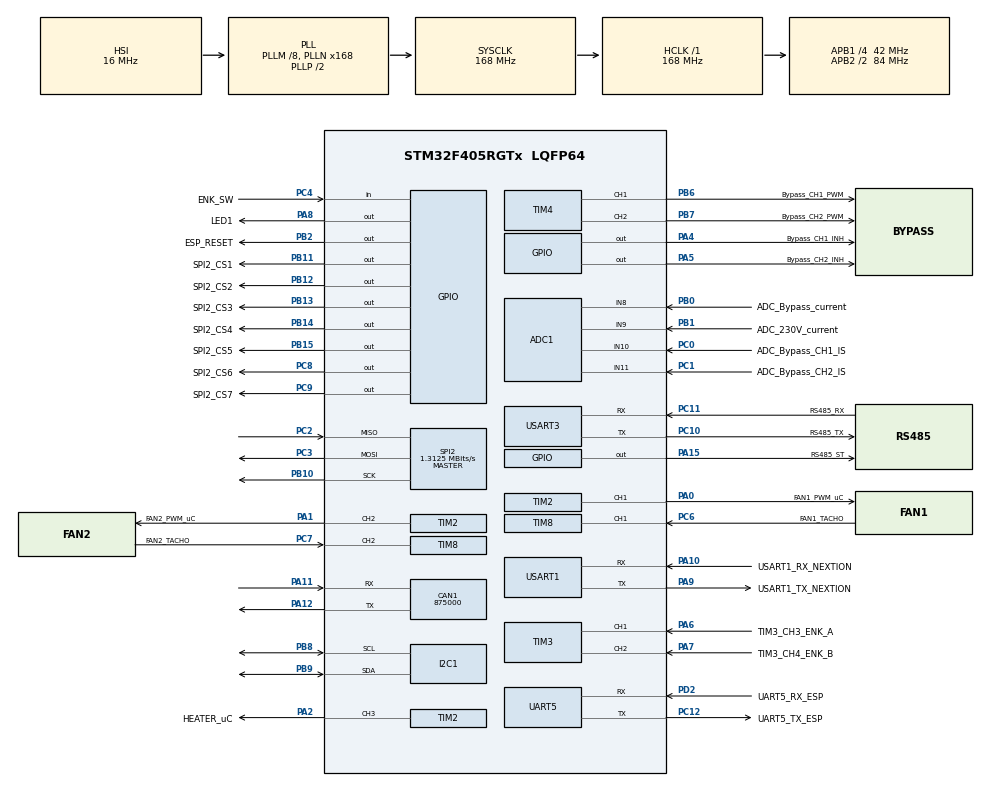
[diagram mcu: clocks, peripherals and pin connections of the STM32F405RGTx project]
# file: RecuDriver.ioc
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ADC1.Channel-0\#ChannelRegularConversion=ADC_CHANNEL_8
ADC1.NbrOfConversionFlag=1
ADC1.Rank-0\#ChannelRegularConversion=1
ADC1.SamplingTime-0\#ChannelRegularConversion=ADC_SAMPLETIME_3CYCLES
ADC1.master=1
CAN1.CalculateBaudRate=875000
CAN1.CalculateTimeBit=1142.85
CAN1.CalculateTimeQuantum=380.95238095238096
FREERTOS.Tasks01=defaultTask,0,128,StartDefaultTask,Default,NULL,Dynamic,NULL,NULL
FREERTOS.configENABLE_FPU=1
Mcu.Family=STM32F4
Mcu.Name=STM32F405RGTx
Mcu.Package=LQFP64
NVIC.PriorityGroup=NVIC_PRIORITYGROUP_4
NVIC.USART1_IRQn=true\:5\:0\:false\:false\:true\:true\:true\:true
PA0-WKUP.GPIO_Label=FAN1_PWM_uC
PA0-WKUP.Signal=S_TIM2_CH1_ETR
PA1.GPIO_Label=FAN2_PWM_uC
PA1.Signal=S_TIM2_CH2
PA10.GPIO_Label=USART1_RX_NEXTION
PA10.Mode=Asynchronous
PA10.Signal=USART1_RX
PA11.Mode=CAN_Activate
PA11.Signal=CAN1_RX
PA12.Mode=CAN_Activate
PA12.Signal=CAN1_TX
PA13.Mode=Serial_Wire
PA13.Signal=SYS_JTMS-SWDIO
PA14.Mode=Serial_Wire
PA14.Signal=SYS_JTCK-SWCLK
PA15.GPIO_Label=RS485_ST
PA15.Signal=GPIO_Output
PA2.GPIO_Label=HEATER_uC
PA2.Signal=S_TIM2_CH3
PA4.GPIO_Label=Bypass_CH1_INH
PA4.Signal=GPIO_Output
PA5.GPIO_Label=Bypass_CH2_INH
PA5.Signal=GPIO_Output
PA6.GPIO_Label=TIM3_CH3_ENK_A
PA6.Signal=S_TIM3_CH1
PA7.GPIO_Label=TIM3_CH4_ENK_B
PA7.Signal=S_TIM3_CH2
PA8.GPIO_Label=LED1
PA8.Signal=GPIO_Output
PA9.GPIO_Label=USART1_TX_NEXTION
PA9.Mode=Asynchronous
PA9.Signal=USART1_TX
PB0.GPIO_Label=ADC_Bypass_current
PB0.Signal=ADCx_IN8
PB1.GPIO_Label=ADC_230V_current
PB1.Signal=ADCx_IN9
PB10.Mode=Full_Duplex_Master
PB10.Signal=SPI2_SCK
PB11.GPIO_Label=SPI2_CS1
PB11.Signal=GPIO_Output
PB12.GPIO_Label=SPI2_CS2
PB12.Signal=GPIO_Output
PB13.GPIO_Label=SPI2_CS3
PB13.Signal=GPIO_Output
PB14.GPIO_Label=SPI2_CS4
PB14.Signal=GPIO_Output
PB15.GPIO_Label=SPI2_CS5
PB15.Signal=GPIO_Output
PB2.GPIO_Label=ESP_RESET
PB2.Signal=GPIO_Output
PB6.GPIO_Label=Bypass_CH1_PWM
PB6.Signal=S_TIM4_CH1
PB7.GPIO_Label=Bypass_CH2_PWM
PB7.Signal=S_TIM4_CH2
PB8.Mode=I2C
PB8.Signal=I2C1_SCL
PB9.Mode=I2C
PB9.Signal=I2C1_SDA
PC0.GPIO_Label=ADC_Bypass_CH1_IS
PC0.Signal=ADCx_IN10
PC1.GPIO_Label=ADC_Bypass_CH2_IS
PC1.Signal=ADCx_IN11
PC10.GPIO_Label=RS485_TX
PC10.Mode=Asynchronous
PC10.Signal=USART3_TX
PC11.GPIO_Label=RS485_RX
PC11.Mode=Asynchronous
PC11.Signal=USART3_RX
PC12.GPIO_Label=UART5_TX_ESP
PC12.Mode=Asynchronous
PC12.Signal=UART5_TX
PC14-OSC32_IN.Mode=LSE-External-Clock-Source
PC14-OSC32_IN.Signal=RCC_OSC32_IN
PC15-OSC32_OUT.Mode=LSE-External-Clock-Source
PC15-OSC32_OUT.Signal=RCC_OSC32_OUT
PC2.Mode=Full_Duplex_Master
PC2.Signal=SPI2_MISO
PC3.Mode=Full_Duplex_Master
PC3.Signal=SPI2_MOSI
PC4.GPIO_Label=ENK_SW
PC4.Signal=GPIO_Input
PC6.GPIO_Label=FAN1_TACHO
PC6.Signal=S_TIM8_CH1
PC7.GPIO_Label=FAN2_TACHO
PC7.Signal=S_TIM8_CH2
PC8.GPIO_Label=SPI2_CS6
PC8.Signal=GPIO_Output
PC9.GPIO_Label=SPI2_CS7
PC9.Signal=GPIO_Output
PD2.GPIO_Label=UART5_RX_ESP
PD2.Mode=Asynchronous
PD2.Signal=UART5_RX
PH0-OSC_IN.Mode=HSE-External-Oscillator
PH0-OSC_IN.Signal=RCC_OSC_IN
PH1-OSC_OUT.Mode=HSE-External-Oscillator
PH1-OSC_OUT.Signal=RCC_OSC_OUT
ProjectManager.HeapSize=0x400
ProjectManager.StackSize=0x800
ProjectManager.TargetToolchain=TrueSTUDIO
RCC.48MHZClocksFreq_Value=84000000
RCC.AHBFreq_Value=168000000
RCC.APB1CLKDivider=RCC_HCLK_DIV4
RCC.APB1Freq_Value=42000000
RCC.APB1TimFreq_Value=84000000
RCC.APB2CLKDivider=RCC_HCLK_DIV2
RCC.APB2Freq_Value=84000000
RCC.APB2TimFreq_Value=168000000
RCC.CortexFreq_Value=168000000
RCC.HCLKFreq_Value=168000000
RCC.HSE_VALUE=12000000
RCC.HSI_VALUE=16000000
RCC.LSE_VALUE=32768
RCC.PLLM=8
RCC.PLLN=168
RCC.SYSCLKFreq_VALUE=168000000
RCC.SYSCLKSource=RCC_SYSCLKSOURCE_PLLCLK
RCC.VCOOutputFreq_Value=336000000
SH.ADCx_IN10.0=ADC1_IN10,IN10
SH.ADCx_IN11.0=ADC1_IN11,IN11
SH.ADCx_IN8.0=ADC1_IN8,IN8
SH.ADCx_IN9.0=ADC1_IN9,IN9
SH.S_TIM2_CH1_ETR.0=TIM2_CH1,PWM Generation1 CH1
SH.S_TIM2_CH2.0=TIM2_CH2,PWM Generation2 CH2
SH.S_TIM2_CH3.0=TIM2_CH3,PWM Generation3 CH3
SH.S_TIM3_CH1.0=TIM3_CH1,Encoder_Interface
SH.S_TIM3_CH2.0=TIM3_CH2,Encoder_Interface
SH.S_TIM4_CH1.0=TIM4_CH1,PWM Generation1 CH1
SH.S_TIM4_CH2.0=TIM4_CH2,PWM Generation2 CH2
SH.S_TIM8_CH1.0=TIM8_CH1,Input_Capture1_from_TI1
SH.S_TIM8_CH2.0=TIM8_CH2,Input_Capture2_from_TI2
SPI2.BaudRatePrescaler=SPI_BAUDRATEPRESCALER_32
SPI2.CalculateBaudRate=1.3125 MBits/s
SPI2.Direction=SPI_DIRECTION_2LINES
SPI2.Mode=SPI_MODE_MASTER
SPI2.VirtualType=VM_MASTER
TIM2.Channel-PWM\ Generation1\ CH1=TIM_CHANNEL_1
TIM2.Channel-PWM\ Generation2\ CH2=TIM_CHANNEL_2
TIM2.Channel-PWM\ Generation3\ CH3=TIM_CHANNEL_3
TIM2.OCPolarity_1=TIM_OCPOLARITY_LOW
TIM2.OCPolarity_2=TIM_OCPOLARITY_LOW
TIM2.Period=999
TIM2.Prescaler=41
TIM2.Pulse-PWM\ Generation1\ CH1=100
TIM2.Pulse-PWM\ Generation2\ CH2=10
TIM4.Channel-PWM\ Generation1\ CH1=TIM_CHANNEL_1
TIM4.Channel-PWM\ Generation2\ CH2=TIM_CHANNEL_2
TIM8.Channel-Input_Capture1_from_TI1=TIM_CHANNEL_1
TIM8.Channel-Input_Capture2_from_TI2=TIM_CHANNEL_2
UART5.VirtualMode=Asynchronous
USART1.VirtualMode=VM_ASYNC
USART3.VirtualMode=VM_ASYNC
VP_CRC_VS_CRC.Mode=CRC_Activate
VP_FREERTOS_VS_CMSIS_V1.Mode=CMSIS_V1
board=custom

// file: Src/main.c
/* USER CODE BEGIN Header */
/**
  ******************************************************************************
  * @file           : main.c
  * @brief          : Main program body
  ******************************************************************************
  * @attention
  *
  * <h2><center>&copy; Copyright (c) 2021 STMicroelectronics.
  * All rights reserved.</center></h2>
  *
  * This software component is licensed by ST under Ultimate Liberty license
  * SLA0044, the "License"; You may not use this file except in compliance with
  * the License. You may obtain a copy of the License at:
  *                             www.st.com/SLA0044
  *
  ******************************************************************************
  */
/* USER CODE END Header */
#include "main.h"
#include "cmsis_os.h"

/* USER CODE BEGIN Includes */
#include "sensorsTask.h"
/* USER CODE END Includes */

ADC_HandleTypeDef hadc1;

CAN_HandleTypeDef hcan1;

CRC_HandleTypeDef hcrc;

I2C_HandleTypeDef hi2c1;

SPI_HandleTypeDef hspi2;

TIM_HandleTypeDef htim2;
TIM_HandleTypeDef htim3;
TIM_HandleTypeDef htim4;
TIM_HandleTypeDef htim8;

UART_HandleTypeDef huart5;
UART_HandleTypeDef huart1;
UART_HandleTypeDef huart3;

osThreadId defaultTaskHandle;
/* USER CODE BEGIN PV */
osThreadId sensorsTaskHandle;
osThreadId nextionDisplayTaskHandle;
osThreadId automationTaskHandle;
/* USER CODE END PV */

void SystemClock_Config(void);
static void MX_GPIO_Init(void);
static void MX_CAN1_Init(void);
static void MX_TIM2_Init(void);
static void MX_TIM3_Init(void);
static void MX_TIM4_Init(void);
static void MX_UART5_Init(void);
static void MX_USART1_UART_Init(void);
static void MX_I2C1_Init(void);
static void MX_SPI2_Init(void);
static void MX_ADC1_Init(void);
static void MX_TIM8_Init(void);
static void MX_USART3_UART_Init(void);
static void MX_CRC_Init(void);
void StartDefaultTask(void const * argument);

int main(void)
{

  /* MCU Configuration--------------------------------------------------------*/

  /* Reset of all peripherals, Initializes the Flash interface and the Systick. */
  HAL_Init();

  /* Configure the system clock */
  SystemClock_Config();

  /* Initialize all configured peripherals */
  MX_GPIO_Init();
  MX_CAN1_Init();
  MX_TIM2_Init();
  MX_TIM3_Init();
  MX_TIM4_Init();
  MX_UART5_Init();
  MX_USART1_UART_Init();
  MX_I2C1_Init();
  MX_SPI2_Init();
  MX_ADC1_Init();
  MX_TIM8_Init();
  MX_USART3_UART_Init();
  MX_CRC_Init();
  /* USER CODE BEGIN 2 */

  HAL_TIM_PWM_Start(&htim2, TIM_CHANNEL_1);	//FAN2
  HAL_TIM_PWM_Start(&htim2, TIM_CHANNEL_2);	//FAN1
  HAL_TIM_PWM_Start(&htim2, TIM_CHANNEL_3);	//HEATER

  /* USER CODE END 2 */

  /* Create the thread(s) */
  /* definition and creation of defaultTask */
  osThreadDef(defaultTask, StartDefaultTask, osPriorityNormal, 0, 128);
  defaultTaskHandle = osThreadCreate(osThread(defaultTask), NULL);

  /* USER CODE BEGIN RTOS_THREADS */
  osThreadDef(sensorsTask, StartSensorsTask, osPriorityNormal, 0, 128);
  sensorsTaskHandle = osThreadCreate(osThread(sensorsTask), NULL);

  osThreadDef(nextionDisplayTask, StartNextionDisplayTask, osPriorityNormal, 0,256);
  nextionDisplayTaskHandle = osThreadCreate(osThread(nextionDisplayTask), NULL);

  osThreadDef(automationTask, StartAutomationTask, osPriorityNormal, 0,128);
  automationTaskHandle = osThreadCreate(osThread(automationTask), NULL);

  /* add threads, ... */
  /* USER CODE END RTOS_THREADS */

  /* Start scheduler */
  osKernelStart();

  /* We should never get here as control is now taken by the scheduler */
  /* Infinite loop */
  while (1)
  {

  }
}

void SystemClock_Config(void)
{
  RCC_OscInitTypeDef RCC_OscInitStruct = {0};
  RCC_ClkInitTypeDef RCC_ClkInitStruct = {0};

  /** Configure the main internal regulator output voltage
  */
  __HAL_RCC_PWR_CLK_ENABLE();
  __HAL_PWR_VOLTAGESCALING_CONFIG(PWR_REGULATOR_VOLTAGE_SCALE1);
  /** Initializes the RCC Oscillators according to the specified parameters
  * in the RCC_OscInitTypeDef structure.
  */
  RCC_OscInitStruct.OscillatorType = RCC_OSCILLATORTYPE_HSI;
  RCC_OscInitStruct.HSIState = RCC_HSI_ON;
  RCC_OscInitStruct.HSICalibrationValue = RCC_HSICALIBRATION_DEFAULT;
  RCC_OscInitStruct.PLL.PLLState = RCC_PLL_ON;
  RCC_OscInitStruct.PLL.PLLSource = RCC_PLLSOURCE_HSI;
  RCC_OscInitStruct.PLL.PLLM = 8;
  RCC_OscInitStruct.PLL.PLLN = 168;
  RCC_OscInitStruct.PLL.PLLP = RCC_PLLP_DIV2;
  RCC_OscInitStruct.PLL.PLLQ = 4;
  if (HAL_RCC_OscConfig(&RCC_OscInitStruct) != HAL_OK)
  {
    Error_Handler();
  }
  /** Initializes the CPU, AHB and APB buses clocks
  */
  RCC_ClkInitStruct.ClockType = RCC_CLOCKTYPE_HCLK|RCC_CLOCKTYPE_SYSCLK
                              |RCC_CLOCKTYPE_PCLK1|RCC_CLOCKTYPE_PCLK2;
  RCC_ClkInitStruct.SYSCLKSource = RCC_SYSCLKSOURCE_PLLCLK;
  RCC_ClkInitStruct.AHBCLKDivider = RCC_SYSCLK_DIV1;
  RCC_ClkInitStruct.APB1CLKDivider = RCC_HCLK_DIV4;
  RCC_ClkInitStruct.APB2CLKDivider = RCC_HCLK_DIV2;

  if (HAL_RCC_ClockConfig(&RCC_ClkInitStruct, FLASH_LATENCY_5) != HAL_OK)
  {
    Error_Handler();
  }
}

static void MX_ADC1_Init(void)
{

  ADC_ChannelConfTypeDef sConfig = {0};

  /** Configure the global features of the ADC (Clock, Resolution, Data Alignment and number of conversion)
  */
  hadc1.Instance = ADC1;
  hadc1.Init.ClockPrescaler = ADC_CLOCK_SYNC_PCLK_DIV4;
  hadc1.Init.Resolution = ADC_RESOLUTION_12B;
  hadc1.Init.ScanConvMode = DISABLE;
  hadc1.Init.ContinuousConvMode = DISABLE;
  hadc1.Init.DiscontinuousConvMode = DISABLE;
  hadc1.Init.ExternalTrigConvEdge = ADC_EXTERNALTRIGCONVEDGE_NONE;
  hadc1.Init.ExternalTrigConv = ADC_SOFTWARE_START;
  hadc1.Init.DataAlign = ADC_DATAALIGN_RIGHT;
  hadc1.Init.NbrOfConversion = 1;
  hadc1.Init.DMAContinuousRequests = DISABLE;
  hadc1.Init.EOCSelection = ADC_EOC_SINGLE_CONV;
  if (HAL_ADC_Init(&hadc1) != HAL_OK)
  {
    Error_Handler();
  }
  /** Configure for the selected ADC regular channel its corresponding rank in the sequencer and its sample time.
  */
  sConfig.Channel = ADC_CHANNEL_8;
  sConfig.Rank = 1;
  sConfig.SamplingTime = ADC_SAMPLETIME_3CYCLES;
  if (HAL_ADC_ConfigChannel(&hadc1, &sConfig) != HAL_OK)
  {
    Error_Handler();
  }

}

static void MX_CAN1_Init(void)
{

  hcan1.Instance = CAN1;
  hcan1.Init.Prescaler = 16;
  hcan1.Init.Mode = CAN_MODE_NORMAL;
  hcan1.Init.SyncJumpWidth = CAN_SJW_1TQ;
  hcan1.Init.TimeSeg1 = CAN_BS1_1TQ;
  hcan1.Init.TimeSeg2 = CAN_BS2_1TQ;
  hcan1.Init.TimeTriggeredMode = DISABLE;
  hcan1.Init.AutoBusOff = DISABLE;
  hcan1.Init.AutoWakeUp = DISABLE;
  hcan1.Init.AutoRetransmission = DISABLE;
  hcan1.Init.ReceiveFifoLocked = DISABLE;
  hcan1.Init.TransmitFifoPriority = DISABLE;
  if (HAL_CAN_Init(&hcan1) != HAL_OK)
  {
    Error_Handler();
  }

}

static void MX_CRC_Init(void)
{

  hcrc.Instance = CRC;
  if (HAL_CRC_Init(&hcrc) != HAL_OK)
  {
    Error_Handler();
  }

}

static void MX_I2C1_Init(void)
{

  hi2c1.Instance = I2C1;
  hi2c1.Init.ClockSpeed = 100000;
  hi2c1.Init.DutyCycle = I2C_DUTYCYCLE_2;
  hi2c1.Init.OwnAddress1 = 0;
  hi2c1.Init.AddressingMode = I2C_ADDRESSINGMODE_7BIT;
  hi2c1.Init.DualAddressMode = I2C_DUALADDRESS_DISABLE;
  hi2c1.Init.OwnAddress2 = 0;
  hi2c1.Init.GeneralCallMode = I2C_GENERALCALL_DISABLE;
  hi2c1.Init.NoStretchMode = I2C_NOSTRETCH_DISABLE;
  if (HAL_I2C_Init(&hi2c1) != HAL_OK)
  {
    Error_Handler();
  }

}

static void MX_SPI2_Init(void)
{

  /* SPI2 parameter configuration*/
  hspi2.Instance = SPI2;
  hspi2.Init.Mode = SPI_MODE_MASTER;
  hspi2.Init.Direction = SPI_DIRECTION_2LINES;
  hspi2.Init.DataSize = SPI_DATASIZE_8BIT;
  hspi2.Init.CLKPolarity = SPI_POLARITY_LOW;
  hspi2.Init.CLKPhase = SPI_PHASE_1EDGE;
  hspi2.Init.NSS = SPI_NSS_SOFT;
  hspi2.Init.BaudRatePrescaler = SPI_BAUDRATEPRESCALER_32;
  hspi2.Init.FirstBit = SPI_FIRSTBIT_MSB;
  hspi2.Init.TIMode = SPI_TIMODE_DISABLE;
  hspi2.Init.CRCCalculation = SPI_CRCCALCULATION_DISABLE;
  hspi2.Init.CRCPolynomial = 10;
  if (HAL_SPI_Init(&hspi2) != HAL_OK)
  {
    Error_Handler();
  }

}

static void MX_TIM2_Init(void)
{

  TIM_MasterConfigTypeDef sMasterConfig = {0};
  TIM_OC_InitTypeDef sConfigOC = {0};

  htim2.Instance = TIM2;
  htim2.Init.Prescaler = 41;
  htim2.Init.CounterMode = TIM_COUNTERMODE_UP;
  htim2.Init.Period = 999;
  htim2.Init.ClockDivision = TIM_CLOCKDIVISION_DIV1;
  htim2.Init.AutoReloadPreload = TIM_AUTORELOAD_PRELOAD_DISABLE;
  if (HAL_TIM_PWM_Init(&htim2) != HAL_OK)
  {
    Error_Handler();
  }
  sMasterConfig.MasterOutputTrigger = TIM_TRGO_RESET;
  sMasterConfig.MasterSlaveMode = TIM_MASTERSLAVEMODE_DISABLE;
  if (HAL_TIMEx_MasterConfigSynchronization(&htim2, &sMasterConfig) != HAL_OK)
  {
    Error_Handler();
  }
  sConfigOC.OCMode = TIM_OCMODE_PWM1;
  sConfigOC.Pulse = 100;
  sConfigOC.OCPolarity = TIM_OCPOLARITY_LOW;
  sConfigOC.OCFastMode = TIM_OCFAST_DISABLE;
  if (HAL_TIM_PWM_ConfigChannel(&htim2, &sConfigOC, TIM_CHANNEL_1) != HAL_OK)
  {
    Error_Handler();
  }
  sConfigOC.Pulse = 10;
  if (HAL_TIM_PWM_ConfigChannel(&htim2, &sConfigOC, TIM_CHANNEL_2) != HAL_OK)
  {
    Error_Handler();
  }
  sConfigOC.Pulse = 0;
  sConfigOC.OCPolarity = TIM_OCPOLARITY_HIGH;
  if (HAL_TIM_PWM_ConfigChannel(&htim2, &sConfigOC, TIM_CHANNEL_3) != HAL_OK)
  {
    Error_Handler();
  }
  HAL_TIM_MspPostInit(&htim2);

}

static void MX_TIM3_Init(void)
{

  TIM_Encoder_InitTypeDef sConfig = {0};
  TIM_MasterConfigTypeDef sMasterConfig = {0};

  htim3.Instance = TIM3;
  htim3.Init.Prescaler = 0;
  htim3.Init.CounterMode = TIM_COUNTERMODE_UP;
  htim3.Init.Period = 65535;
  htim3.Init.ClockDivision = TIM_CLOCKDIVISION_DIV1;
  htim3.Init.AutoReloadPreload = TIM_AUTORELOAD_PRELOAD_DISABLE;
  sConfig.EncoderMode = TIM_ENCODERMODE_TI1;
  sConfig.IC1Polarity = TIM_ICPOLARITY_RISING;
  sConfig.IC1Selection = TIM_ICSELECTION_DIRECTTI;
  sConfig.IC1Prescaler = TIM_ICPSC_DIV1;
  sConfig.IC1Filter = 0;
  sConfig.IC2Polarity = TIM_ICPOLARITY_RISING;
  sConfig.IC2Selection = TIM_ICSELECTION_DIRECTTI;
  sConfig.IC2Prescaler = TIM_ICPSC_DIV1;
  sConfig.IC2Filter = 0;
  if (HAL_TIM_Encoder_Init(&htim3, &sConfig) != HAL_OK)
  {
    Error_Handler();
  }
  sMasterConfig.MasterOutputTrigger = TIM_TRGO_RESET;
  sMasterConfig.MasterSlaveMode = TIM_MASTERSLAVEMODE_DISABLE;
  if (HAL_TIMEx_MasterConfigSynchronization(&htim3, &sMasterConfig) != HAL_OK)
  {
    Error_Handler();
  }

}

static void MX_TIM4_Init(void)
{

  TIM_MasterConfigTypeDef sMasterConfig = {0};
  TIM_OC_InitTypeDef sConfigOC = {0};

  htim4.Instance = TIM4;
  htim4.Init.Prescaler = 0;
  htim4.Init.CounterMode = TIM_COUNTERMODE_UP;
  htim4.Init.Period = 65535;
  htim4.Init.ClockDivision = TIM_CLOCKDIVISION_DIV1;
  htim4.Init.AutoReloadPreload = TIM_AUTORELOAD_PRELOAD_DISABLE;
  if (HAL_TIM_PWM_Init(&htim4) != HAL_OK)
  {
    Error_Handler();
  }
  sMasterConfig.MasterOutputTrigger = TIM_TRGO_RESET;
  sMasterConfig.MasterSlaveMode = TIM_MASTERSLAVEMODE_DISABLE;
  if (HAL_TIMEx_MasterConfigSynchronization(&htim4, &sMasterConfig) != HAL_OK)
  {
    Error_Handler();
  }
  sConfigOC.OCMode = TIM_OCMODE_PWM1;
  sConfigOC.Pulse = 0;
  sConfigOC.OCPolarity = TIM_OCPOLARITY_HIGH;
  sConfigOC.OCFastMode = TIM_OCFAST_DISABLE;
  if (HAL_TIM_PWM_ConfigChannel(&htim4, &sConfigOC, TIM_CHANNEL_1) != HAL_OK)
  {
    Error_Handler();
  }
  if (HAL_TIM_PWM_ConfigChannel(&htim4, &sConfigOC, TIM_CHANNEL_2) != HAL_OK)
  {
    Error_Handler();
  }
  HAL_TIM_MspPostInit(&htim4);

}

static void MX_TIM8_Init(void)
{

  TIM_MasterConfigTypeDef sMasterConfig = {0};
  TIM_IC_InitTypeDef sConfigIC = {0};

  htim8.Instance = TIM8;
  htim8.Init.Prescaler = 0;
  htim8.Init.CounterMode = TIM_COUNTERMODE_UP;
  htim8.Init.Period = 65535;
  htim8.Init.ClockDivision = TIM_CLOCKDIVISION_DIV1;
  htim8.Init.RepetitionCounter = 0;
  htim8.Init.AutoReloadPreload = TIM_AUTORELOAD_PRELOAD_DISABLE;
  if (HAL_TIM_IC_Init(&htim8) != HAL_OK)
  {
    Error_Handler();
  }
  sMasterConfig.MasterOutputTrigger = TIM_TRGO_RESET;
  sMasterConfig.MasterSlaveMode = TIM_MASTERSLAVEMODE_DISABLE;
  if (HAL_TIMEx_MasterConfigSynchronization(&htim8, &sMasterConfig) != HAL_OK)
  {
    Error_Handler();
  }
  sConfigIC.ICPolarity = TIM_INPUTCHANNELPOLARITY_RISING;
  sConfigIC.ICSelection = TIM_ICSELECTION_DIRECTTI;
  sConfigIC.ICPrescaler = TIM_ICPSC_DIV1;
  sConfigIC.ICFilter = 0;
  if (HAL_TIM_IC_ConfigChannel(&htim8, &sConfigIC, TIM_CHANNEL_1) != HAL_OK)
  {
    Error_Handler();
  }
  if (HAL_TIM_IC_ConfigChannel(&htim8, &sConfigIC, TIM_CHANNEL_2) != HAL_OK)
  {
    Error_Handler();
  }

}

static void MX_UART5_Init(void)
{

  huart5.Instance = UART5;
  huart5.Init.BaudRate = 115200;
  huart5.Init.WordLength = UART_WORDLENGTH_8B;
  huart5.Init.StopBits = UART_STOPBITS_1;
  huart5.Init.Parity = UART_PARITY_NONE;
  huart5.Init.Mode = UART_MODE_TX_RX;
  huart5.Init.HwFlowCtl = UART_HWCONTROL_NONE;
  huart5.Init.OverSampling = UART_OVERSAMPLING_16;
  if (HAL_UART_Init(&huart5) != HAL_OK)
  {
    Error_Handler();
  }

}

static void MX_USART1_UART_Init(void)
{

  huart1.Instance = USART1;
  huart1.Init.BaudRate = 115200;
  huart1.Init.WordLength = UART_WORDLENGTH_8B;
  huart1.Init.StopBits = UART_STOPBITS_1;
  huart1.Init.Parity = UART_PARITY_NONE;
  huart1.Init.Mode = UART_MODE_TX_RX;
  huart1.Init.HwFlowCtl = UART_HWCONTROL_NONE;
  huart1.Init.OverSampling = UART_OVERSAMPLING_16;
  if (HAL_UART_Init(&huart1) != HAL_OK)
  {
    Error_Handler();
  }

}

static void MX_USART3_UART_Init(void)
{

  huart3.Instance = USART3;
  huart3.Init.BaudRate = 115200;
  huart3.Init.WordLength = UART_WORDLENGTH_8B;
  huart3.Init.StopBits = UART_STOPBITS_1;
  huart3.Init.Parity = UART_PARITY_NONE;
  huart3.Init.Mode = UART_MODE_TX_RX;
  huart3.Init.HwFlowCtl = UART_HWCONTROL_NONE;
  huart3.Init.OverSampling = UART_OVERSAMPLING_16;
  if (HAL_UART_Init(&huart3) != HAL_OK)
  {
    Error_Handler();
  }

}

static void MX_GPIO_Init(void)
{
  GPIO_InitTypeDef GPIO_InitStruct = {0};

  /* GPIO Ports Clock Enable */
  __HAL_RCC_GPIOC_CLK_ENABLE();
  __HAL_RCC_GPIOH_CLK_ENABLE();
  __HAL_RCC_GPIOA_CLK_ENABLE();
  __HAL_RCC_GPIOB_CLK_ENABLE();
  __HAL_RCC_GPIOD_CLK_ENABLE();

  /*Configure GPIO pin Output Level */
  HAL_GPIO_WritePin(GPIOA, Bypass_CH1_INH_Pin|Bypass_CH2_INH_Pin|LED1_Pin|RS485_ST_Pin, GPIO_PIN_RESET);

  /*Configure GPIO pin Output Level */
  HAL_GPIO_WritePin(GPIOB, ESP_RESET_Pin|SPI2_CS1_Pin|SPI2_CS2_Pin|SPI2_CS3_Pin
                          |SPI2_CS4_Pin|SPI2_CS5_Pin, GPIO_PIN_RESET);

  /*Configure GPIO pin Output Level */
  HAL_GPIO_WritePin(GPIOC, SPI2_CS6_Pin|SPI2_CS7_Pin, GPIO_PIN_RESET);

  /*Configure GPIO pins : Bypass_CH1_INH_Pin Bypass_CH2_INH_Pin LED1_Pin RS485_ST_Pin */
  GPIO_InitStruct.Pin = Bypass_CH1_INH_Pin|Bypass_CH2_INH_Pin|LED1_Pin|RS485_ST_Pin;
  GPIO_InitStruct.Mode = GPIO_MODE_OUTPUT_PP;
  GPIO_InitStruct.Pull = GPIO_NOPULL;
  GPIO_InitStruct.Speed = GPIO_SPEED_FREQ_LOW;
  HAL_GPIO_Init(GPIOA, &GPIO_InitStruct);

  /*Configure GPIO pin : ENK_SW_Pin */
  GPIO_InitStruct.Pin = ENK_SW_Pin;
  GPIO_InitStruct.Mode = GPIO_MODE_INPUT;
  GPIO_InitStruct.Pull = GPIO_NOPULL;
  HAL_GPIO_Init(ENK_SW_GPIO_Port, &GPIO_InitStruct);

  /*Configure GPIO pins : ESP_RESET_Pin SPI2_CS1_Pin SPI2_CS2_Pin SPI2_CS3_Pin
                           SPI2_CS4_Pin SPI2_CS5_Pin */
  GPIO_InitStruct.Pin = ESP_RESET_Pin|SPI2_CS1_Pin|SPI2_CS2_Pin|SPI2_CS3_Pin
                          |SPI2_CS4_Pin|SPI2_CS5_Pin;
  GPIO_InitStruct.Mode = GPIO_MODE_OUTPUT_PP;
  GPIO_InitStruct.Pull = GPIO_NOPULL;
  GPIO_InitStruct.Speed = GPIO_SPEED_FREQ_LOW;
  HAL_GPIO_Init(GPIOB, &GPIO_InitStruct);

  /*Configure GPIO pins : SPI2_CS6_Pin SPI2_CS7_Pin */
  GPIO_InitStruct.Pin = SPI2_CS6_Pin|SPI2_CS7_Pin;
  GPIO_InitStruct.Mode = GPIO_MODE_OUTPUT_PP;
  GPIO_InitStruct.Pull = GPIO_NOPULL;
  GPIO_InitStruct.Speed = GPIO_SPEED_FREQ_LOW;
  HAL_GPIO_Init(GPIOC, &GPIO_InitStruct);

}

void StartDefaultTask(void const * argument)
{
  /* USER CODE BEGIN 5 */
  /* Infinite loop */
  for(;;)
  {
    osDelay(100);
    HAL_GPIO_TogglePin(LED1_GPIO_Port, LED1_Pin);

  }
  /* USER CODE END 5 */
}

void Error_Handler(void)
{
  __disable_irq();
  while (1)
  {
  }
}

/************************ (C) COPYRIGHT STMicroelectronics *****END OF FILE****/
